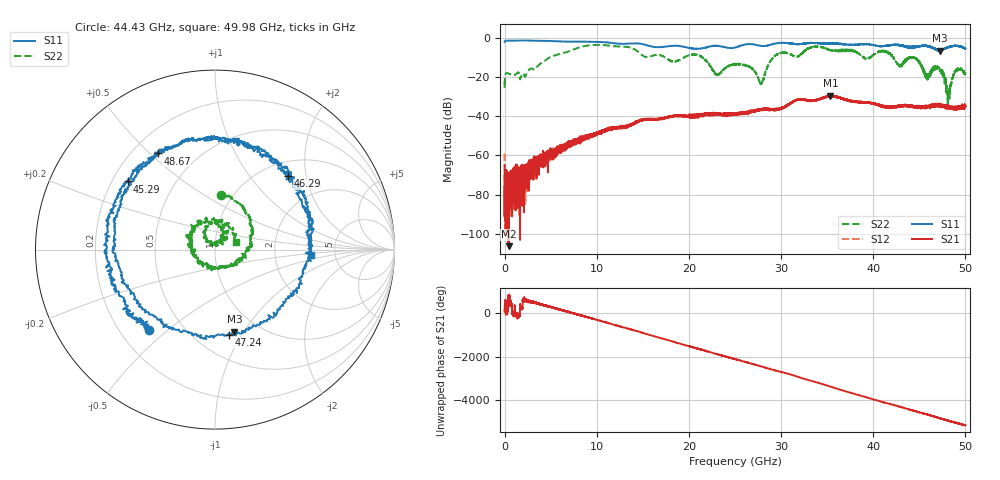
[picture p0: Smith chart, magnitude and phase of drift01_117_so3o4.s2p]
!Created with skrf (http://scikit-rf.org).
# Hz S RI R 50.0
!freq ReS11 ImS11 ReS21 ImS21 ReS12 ImS12 ReS22 ImS22
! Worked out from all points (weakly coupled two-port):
!   10001 points, 300 kHz to 50 GHz, reference 50 ohm
!   highest |S21| = -29.47 dB at 35.35 GHz (marker M1); lowest = -106.3 dB at 425.3 MHz (marker M2)
!   lowest |S11| = -6.6 dB at 47.23 GHz (marker M3), VSWR 2.77, Z = 38.7 - j45.5 ohm
!   |S11| at or under -10 dB: nowhere
!   |S22| runs from -33.9 to -3.6 dB; largest |S21 - S12| = 0.0039
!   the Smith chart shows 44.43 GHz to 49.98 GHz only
!   S11 on the Smith chart (normalised r, x): 44.43 GHz: 0.32, -0.43; 45.29 GHz: 0.26, +0.32; 46.29 GHz: 1.29, +1.58; 47.24 GHz: 0.72, -0.88; 48.67 GHz: 0.30, +0.53; 49.98 GHz: 3.27, -0.30
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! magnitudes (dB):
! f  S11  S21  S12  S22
! 300 kHz  -2.1  -65.1  -59.1  -21.9
! 425.3 MHz  -1.4  -106.3  -74.2  -18.3
! 8.335 GHz  -1.9  -52.0  -51.0  -4.5
! 16.67 GHz  -4.8  -41.5  -41.6  -8.7
! 20.97 GHz  -5.6  -39.6  -39.3  -8.8
! 23.08 GHz  -4.1  -39.4  -38.8  -18.8
! 25 GHz  -5.0  -39.1  -38.9  -13.6
! 27.84 GHz  -4.1  -36.4  -36.4  -23.1
! 29.46 GHz  -2.9  -36.5  -36.5  -8.8
! 33.34 GHz  -2.6  -32.0  -31.9  -4.8
! 35.35 GHz  -3.0  -29.5  -29.7  -6.3
! 41.67 GHz  -3.8  -35.6  -35.3  -7.6
! 42.86 GHz  -3.7  -34.9  -34.9  -14.3
! 44.43 GHz  -4.7  -34.9  -35.1  -10.2
! 45.29 GHz  -4.2  -35.2  -35.5  -14.8
! 46.29 GHz  -4.8  -34.9  -34.8  -17.5
! 47.23 GHz  -6.6  -34.4  -34.6  -16.6
! 47.24 GHz  -6.4  -34.2  -34.0  -16.8
! 48.13 GHz  -4.8  -35.3  -35.0  -31.6
! 48.67 GHz  -4.1  -35.8  -36.2  -19.7
! 49.98 GHz  -5.4  -34.7  -34.9  -18.2
! 50 GHz  -5.5  -34.7  -34.7  -18.4
